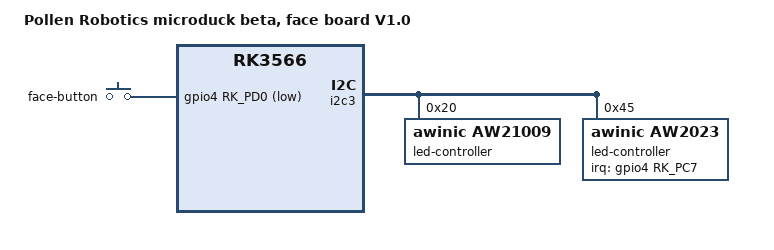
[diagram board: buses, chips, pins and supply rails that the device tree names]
// SPDX-License-Identifier: (GPL-2.0+ OR MIT)
/*
 * microduck beta main board with the Face Board V1.0.
 *
 * The main board is the beta's, so this is rk3566-microduck-beta.dts with its
 * face block swapped. V1.0 replaces the PCA9535 expander and its NPN switches
 * with two constant-current drivers on the same I2C3: an AW21009 (9 channels,
 * 0x20) for the indicator LEDs and an AW2023 (3 channels, 0x45) for the RGB
 * LED, whose INTN takes the expander's GPIO4_C7. The freed GPIO4_D0 carries a
 * new button. Everything else on the face board connector (PDM mic, ToF on
 * SPI3, IMU on I2C3) is wired as on the beta.
 *
 * Channel-to-LED mapping checked on a V1.0 board (sch_261020): the labels
 * below are the V0 face board's names for the same physical LEDs, so the
 * udev rule and robotctl led address them unchanged.
 */

#include "rk3566-microduck-beta.dts"

/ {
	model = "Pollen Robotics microduck beta, face board V1.0";
	compatible = "pollen,microduck-face-board-v1", "pollen,microduck-beta", "rockchip,rk3566";

	/delete-node/ face-leds;

	face-keys {
		compatible = "gpio-keys";
		pinctrl-names = "default";
		pinctrl-0 = <&face_button>;

		/* Pulled up and debounced (RC) on the face board; pressed is low. */
		face-button {
			label = "face-button";
			linux,code = <KEY_ENTER>;
			gpios = <&gpio4 RK_PD0 GPIO_ACTIVE_LOW>;
		};
	};
};

/delete-node/ &face_gpio;

&i2c3 {
	/* EN is pulled up on the face board; ISET sets the full-scale current. */
	led-controller@20 {
		compatible = "awinic,aw21009";
		reg = <0x20>;
		#address-cells = <1>;
		#size-cells = <0>;

		led@1 { reg = <1>; label = "face:gr1:red"; };
		led@2 { reg = <2>; label = "face:gr1:green"; };
		led@3 { reg = <3>; label = "face:green2:green"; };
		led@4 { reg = <4>; label = "face:green1:green"; linux,default-trigger = "heartbeat"; };
		led@5 { reg = <5>; label = "face:gb:green"; };
		led@6 { reg = <6>; label = "face:gb:blue"; };
		led@7 { reg = <7>; label = "face:gr2:green"; };
		led@8 { reg = <8>; label = "face:gr2:red"; };
		led@9 { reg = <9>; label = "face:cam:red"; };
	};

	led-controller@45 {
		compatible = "awinic,aw2023";
		reg = <0x45>;
		awinic,imax = <1>;
		interrupt-parent = <&gpio4>;
		interrupts = <RK_PC7 IRQ_TYPE_LEVEL_LOW>;
		pinctrl-names = "default";
		pinctrl-0 = <&face_gpio_int>;
		#address-cells = <1>;
		#size-cells = <0>;

		led@0 { reg = <0>; label = "face:rgb:blue"; };
		led@1 { reg = <1>; label = "face:rgb:green"; };
		led@2 { reg = <2>; label = "face:rgb:red"; };
	};
};

&pinctrl {
	face {
		face_button: face-button {
			rockchip,pins = <4 RK_PD0 RK_FUNC_GPIO &pcfg_pull_none>;
		};
	};
};
